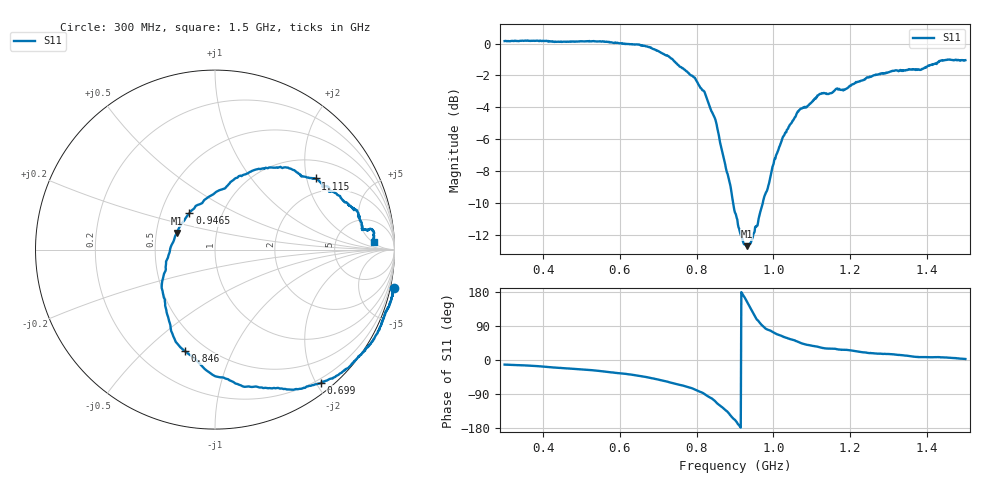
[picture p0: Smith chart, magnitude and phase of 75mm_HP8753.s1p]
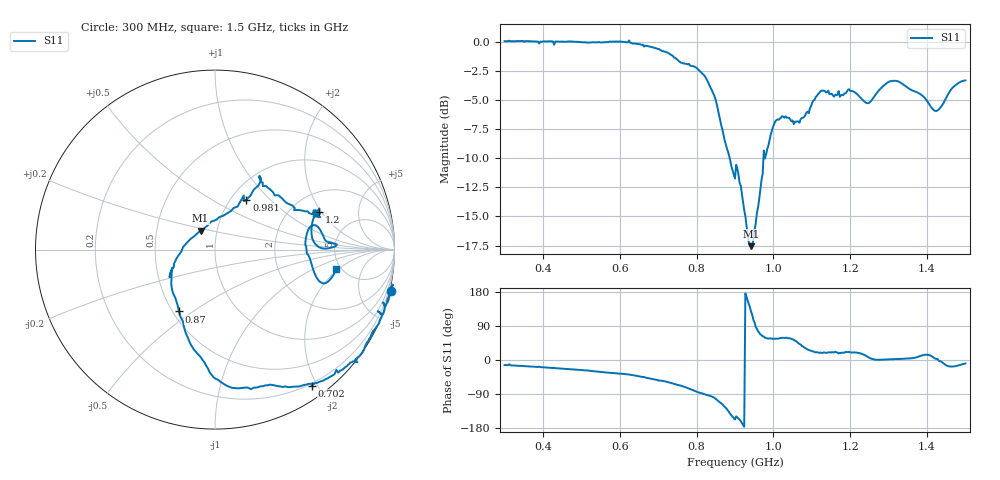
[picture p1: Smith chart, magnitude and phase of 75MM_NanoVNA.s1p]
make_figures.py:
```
#!/usr/bin/env python3
"""
Generate the article's figures from the measured files.

    pip install matplotlib numpy necpp
    python3 make_figures.py

Written for print: every series is distinguished by line style as well as
colour, so the figures survive being reproduced in greyscale.
"""
import os, cmath, math
import numpy as np
import matplotlib
matplotlib.use("Agg")
import matplotlib.pyplot as plt

HERE = os.path.dirname(os.path.abspath(__file__))
MEAS = os.path.join(HERE, "..", "touchstone")   # the sample files live there
FIGS = os.path.join(HERE, "figures")
os.makedirs(FIGS, exist_ok=True)

plt.rcParams.update({
    "font.size": 9, "axes.labelsize": 9, "axes.titlesize": 10,
    "legend.fontsize": 8, "xtick.labelsize": 8, "ytick.labelsize": 8,
    "axes.grid": True, "grid.alpha": 0.3, "grid.linewidth": 0.5,
    "figure.dpi": 110, "savefig.dpi": 300, "savefig.bbox": "tight",
})

def read_s1p(path):
    fs, gs = [], []
    unit, fmt = 1.0, "RI"
    for line in open(path):
        s = line.strip()
        if not s or s.startswith("!"): continue
        if s.startswith("#"):
            t = s.upper().split()
            unit = {"HZ":1e-6,"KHZ":1e-3,"MHZ":1.0,"GHZ":1e3}[t[1]]
            fmt = t[3]; continue
        p = s.split()
        f = float(p[0])*unit
        a, b = float(p[1]), float(p[2])
        g = complex(a,b) if fmt=="RI" else a*cmath.exp(1j*b*math.pi/180)
        fs.append(f); gs.append(g)
    return np.array(fs), np.array(gs)

def Z(g):  return 50*(1+g)/(1-g)
def vswr(g):
    m = np.minimum(np.abs(g), 0.9995)
    return (1+m)/(1-m)

hp_f, hp_g = read_s1p(os.path.join(MEAS, "75mm_HP8753.s1p"))
nv_f, nv_g = read_s1p(os.path.join(MEAS, "75MM_NanoVNA.s1p"))
hp_z, nv_z = Z(hp_g), Z(nv_g)

# ---- NEC prediction of the same antenna, for the validation figure
def nec_curve():
    try:
        import necpp
    except ImportError:
        return None, None
    fs = np.arange(300, 1501, 5.0); zs = []
    for f in fs:
        ctx = necpp.nec_create()
        necpp.nec_wire(ctx,1,21,0,0,0,0,0,0.075,0.0005,1.0,1.0)
        necpp.nec_geometry_complete(ctx,1)
        necpp.nec_gn_card(ctx,1,0,0,0,0,0,0,0)
        necpp.nec_fr_card(ctx,0,1,float(f),0)
        necpp.nec_ex_card(ctx,0,1,1,0,1.0,0,0,0,0,0)
        necpp.nec_xq_card(ctx,0)
        zs.append(complex(necpp.nec_impedance_real(ctx,0),
                          necpp.nec_impedance_imag(ctx,0)))
        necpp.nec_delete(ctx)
    return fs, np.array(zs)
nec_f, nec_z = nec_curve()

# ============================================ Figure 1: model against object
fig, ax = plt.subplots(2, 1, figsize=(6.0, 5.4), sharex=True)
if nec_f is not None:
    ax[0].plot(nec_f, nec_z.real, "k:",  lw=1.6, label="NEC model")
    ax[1].plot(nec_f, nec_z.imag, "k:",  lw=1.6, label="NEC model")
ax[0].plot(hp_f, hp_z.real, "-",  color="#1f5fbf", lw=1.3, label="HP 8753C")
ax[0].plot(nv_f, nv_z.real, "--", color="#b5342b", lw=1.1, label="NanoVNA")
ax[1].plot(hp_f, hp_z.imag, "-",  color="#1f5fbf", lw=1.3)
ax[1].plot(nv_f, nv_z.imag, "--", color="#b5342b", lw=1.1)
ax[1].axhline(0, color="0.4", lw=0.8)
for a in ax: a.axvspan(900, 1500, color="0.85", alpha=0.45, zorder=0)
ax[0].set_ylabel("Resistance, ohms"); ax[0].set_ylim(0, 260)
ax[1].set_ylabel("Reactance, ohms");  ax[1].set_ylim(-400, 400)
ax[1].set_xlabel("Frequency, MHz");   ax[1].set_xlim(300, 1500)
ax[0].legend(loc="upper left", framealpha=0.95)
ax[0].set_title("75 mm monopole: an idealised model against two real instruments\n"
                "(all three agree closely until about 1 GHz, shaded thereafter)")
fig.savefig(os.path.join(FIGS, "fig1_model_vs_measured.png"))
plt.close(fig)

# ============ Figure 2: the instruments differ steadily, and why it matters
fig, ax = plt.subplots(2, 1, figsize=(6.0, 5.4),
                       gridspec_kw={"height_ratios":[3,2]}, sharex=True)
ax[0].semilogy(hp_f, vswr(hp_g), "-",  color="#1f5fbf", lw=1.4, label="HP 8753C")
ax[0].semilogy(nv_f, vswr(nv_g), "--", color="#b5342b", lw=1.2, label="NanoVNA")
ax[0].axvspan(850, 1000, color="#1f7a52", alpha=0.13, zorder=0)
ax[0].annotate("850 to 1000 MHz, the band matched below:\nthe two designs agree to 0.5%",
               xy=(925, 2.0), xytext=(1090, 1.35), fontsize=7.5, color="#1f7a52",
               arrowprops=dict(arrowstyle="->", color="#1f7a52", lw=0.8))
ax[0].set_ylabel("VSWR"); ax[0].set_ylim(1, 60)
ax[0].legend(loc="upper center", ncol=2, framealpha=0.95)
ax[0].set_title("Same antenna, two instruments")

nvg = np.interp(hp_f, nv_f, nv_g.real) + 1j*np.interp(hp_f, nv_f, nv_g.imag)
dg  = np.abs(nvg - hp_g)
ax[1].plot(hp_f, dg, "-", color="#8d3a9b", lw=1.3)
ax[1].fill_between(hp_f, 0, dg, color="#8d3a9b", alpha=0.15)
ax[1].axvspan(850, 1000, color="#1f7a52", alpha=0.13, zorder=0)
ax[1].set_ylabel("difference in\n|gamma| between them")
ax[1].set_xlabel("Frequency, MHz"); ax[1].set_xlim(650, 1500)
ax[1].set_ylim(0, 0.42)
ax[1].annotate("no cliff: the disagreement\ngrows steadily with frequency",
               xy=(1250, 0.22), xytext=(950, 0.33), fontsize=7.5, color="#8d3a9b",
               arrowprops=dict(arrowstyle="->", color="#8d3a9b", lw=0.8))
fig.savefig(os.path.join(FIGS, "fig2_instrument_divergence.png"))
plt.close(fig)

# ========== Figure 3: why the same error matters more at high VSWR
fig, ax = plt.subplots(figsize=(5.6, 3.4))
g = np.linspace(0.05, 0.93, 400)
v = (1+g)/(1-g)
err = 0.08                                   # typical difference between the two
v_hi = (1+np.minimum(g+err,0.999))/(1-np.minimum(g+err,0.999))
ax.semilogy(v, v_hi-v, "-", color="#b5342b", lw=1.6)
ax.set_xlabel("VSWR being measured")
ax.set_ylabel("error in VSWR produced by\na 0.08 error in |gamma|")
ax.set_xlim(1, 20); ax.set_ylim(0.1, 100)
for mark, lab in ((2.58,"870 to 960 MHz"), (3.66,"850 to 1000 MHz"),
                  (7.46,"800 to 1100 MHz")):
    ax.axvline(mark, color="0.45", ls=":", lw=1.0)
    ax.annotate(lab, xy=(mark, 0.14), rotation=90, fontsize=7.2,
                color="0.35", ha="right", va="bottom")
ax.text(2.1, 42, "614 to 1500 MHz sits at VSWR 668,\nfar off the right of this plot",
        fontsize=7.2, color="0.35", ha="left", va="center")
ax.set_title("The same measurement error, judged at different mismatches")
fig.savefig(os.path.join(FIGS, "fig3_vswr_sensitivity.png"))
plt.close(fig)
print("figures 1, 2 and 3 written")

# ================= Figure 4: what the optimised network does to the antenna
def stubY(Zs, th, f, f0): return 1/(1j*Zs*np.tan(th*(f/f0)*np.pi/180))
def rot(z, Zl, th, f, f0):
    b = th*(f/f0)*np.pi/180
    return Zl*(z + 1j*Zl*np.tan(b))/(Zl + 1j*z*np.tan(b))
def W(f): return 2*np.pi*f*1e6

F0 = 925.0                                  # band centre, and the length reference
band = (hp_f >= 850) & (hp_f <= 1000)
fb, zb = hp_f[band], hp_z[band]

# the two designs the optimiser returned from the 8753 data
# Both from QuickSmith's own search, impedances constrained to 20-150 ohms so
# that the answer is something you could fabricate.
def net_Lstub(f, za):                       # 1.000 nH; stub 20.00 ohm / 87.77 deg
    return 1/(1/(za + 1j*W(f)*1.0000e-9) + stubY(20.0000, 87.7718, f, F0))
def net_line(f, za):                        # 1.035 nH; 32.53/110.92; 25.46/135.20; 73.63/129.80
    z1 = 1/(1/(za + 1j*W(f)*1.0348e-9) + stubY(32.5349, 110.9239, f, F0))
    return 1/(1/rot(z1, 25.4614, 135.1990, f, F0) + stubY(73.6296, 129.7956, f, F0))

def v_of(z):
    g = np.abs((z-50)/(z+50)); g = np.minimum(g, 0.9995)
    return (1+g)/(1-g)

fig, ax = plt.subplots(figsize=(6.0, 3.8))
ax.plot(fb, v_of(zb),            "-",  color="0.35",    lw=1.6, label="bare antenna")
ax.plot(fb, v_of(net_Lstub(fb, zb)), "--", color="#b26a00", lw=1.5,
        label="L + stub (worst 2.29)")
ax.plot(fb, v_of(net_line(fb, zb)),  "-",  color="#1f5fbf", lw=1.8,
        label="L + stub + line + stub (worst 1.74)")
ax.axhline(2.0, color="#b5342b", ls=":", lw=1.2)
ax.annotate("VSWR 2", xy=(855, 2.06), fontsize=7.5, color="#b5342b")
ax.set_xlabel("Frequency, MHz"); ax.set_ylabel("VSWR")
ax.set_xlim(850, 1000); ax.set_ylim(1, 6)
ax.legend(loc="upper center", framealpha=0.95)
ax.set_title("Measured 75 mm monopole, matched across 850 to 1000 MHz\n"
             "(networks designed from the 8753C data)")
fig.savefig(os.path.join(FIGS, "fig4_matched_result.png"))
plt.close(fig)

# ========== Figure 5: new planes against more parts, the simulation study
labels = ["shunt C at\nthe stub's node", "second stub at\nthe stub's node",
          "series L after\nthe stub", "line, then\na second stub"]
means  = [-0.2, -0.0, 52.5, 60.5]
colors = ["0.65", "0.65", "#1f5fbf", "#1f7a52"]
fig, ax = plt.subplots(figsize=(6.0, 3.6))
bars = ax.bar(range(4), means, color=colors, width=0.62, edgecolor="0.25", lw=0.7)
for i, (b, m) in enumerate(zip(bars, means)):
    ax.annotate(f"{m:+.1f}%", xy=(i, m + (2.5 if m > 0 else 2.5)),
                ha="center", fontsize=9, weight="bold")
ax.axhline(0, color="0.2", lw=1.0)
ax.set_xticks(range(4)); ax.set_xticklabels(labels, fontsize=7.8)
ax.set_ylabel("mean improvement over\nthe two-element network")
ax.set_ylim(-8, 84)
ax.plot([-0.35, 1.35], [72, 72], color="0.45", lw=1.2)
ax.text(0.5, 74, "SAME PLANE as the existing stub\nno gain at all",
        ha="center", fontsize=8.5, color="0.45", style="italic")
ax.plot([1.65, 3.35], [72, 72], color="#1f5fbf", lw=1.2)
ax.text(2.5, 74, "A NEW PLANE\nlarge gain", ha="center", fontsize=8.5,
        color="#1f5fbf", weight="bold")
ax.set_title("Twelve simulated antennas: where a third component earns its place")
fig.savefig(os.path.join(FIGS, "fig5_new_planes.png"))
plt.close(fig)
print("figures 4 and 5 written")
```
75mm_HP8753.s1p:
! HP 8753 S11 Measurement
! Created: 2026-09-27 17:32:02
! Number of points: 801
! Start frequency: 300.000000000 MHz
! Stop frequency: 1500.000000000 MHz
# MHz S RI R 50
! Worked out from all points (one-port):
!   801 points, 300 MHz to 1.5 GHz, reference 50 ohm
!   lowest |S11| = -12.7 dB at 930 MHz (marker M1), VSWR 1.60, Z = 32 + j6.28 ohm
!   |S11| at or under -10 dB: 895.1 MHz to 972.4 MHz (77.23 MHz wide, 8.27 % of centre)
!   S11 on the Smith chart (normalised r, x): 300 MHz: -0.81, -9.32; 699 MHz: 0.14, -2.07; 846 MHz: 0.39, -0.67; 946.5 MHz: 0.70, +0.30; 1.115 GHz: 1.51, +2.27; 1.5 GHz: 14, +6
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300  0.9957 -0.2146
552  0.8817 -0.5004
699  0.5923 -0.7411
700.5  0.5862 -0.7445
795  0.1649 -0.7646
846  -0.169 -0.565
886.5  -0.297 -0.214
930  -0.2121 0.0928
946.5  -0.1423 0.2026
1024.5  0.2397 0.4487
1101  0.521 0.4017
1114.5  0.5613 0.3963
1264.5  0.7617 0.2356
1500  0.8858 0.0412
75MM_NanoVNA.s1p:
!File created by NanoVNA
# Hz S RI R 50
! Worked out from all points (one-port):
!   401 points, 300 MHz to 1.5 GHz, reference 50 ohm
!   lowest |S11| = -17.5 dB at 942 MHz (marker M1), VSWR 1.31, Z = 41.7 + j8.96 ohm
!   |S11| at or under -10 dB: 886.2 MHz to 974 MHz (87.84 MHz wide, 9.44 % of centre); 977.8736 MHz to 978.2439 MHz (370.3 kHz wide, 0.0379 % of centre)
!   S11 on the Smith chart (normalised r, x): 300 MHz: -0.18, -8.56; 702 MHz: 0.17, -1.93; 870 MHz: 0.54, -0.44; 981 MHz: 1.18, +0.73; 1.2 GHz: 2.81, +1.89; 1.5 GHz: 4.52, -1.83
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3e8  0.9778 -0.2315
6.03e8  0.8067 -0.5918
7.02e8  0.5391 -0.7584
8.07e8  0.0518 -0.7506
8.7e8  -0.2009 -0.3443
9.42e8  -0.0803 0.1055
9.81e8  0.1748 0.2778
1.029e9  0.251 0.3991
1.101e9  0.5031 0.2131
1.2e9  0.5782 0.2091
1.269e9  0.6015 0.00626
1.422e9  0.503 0.0325
1.461e9  0.5903 -0.1832
1.5e9  0.6734 -0.1081
